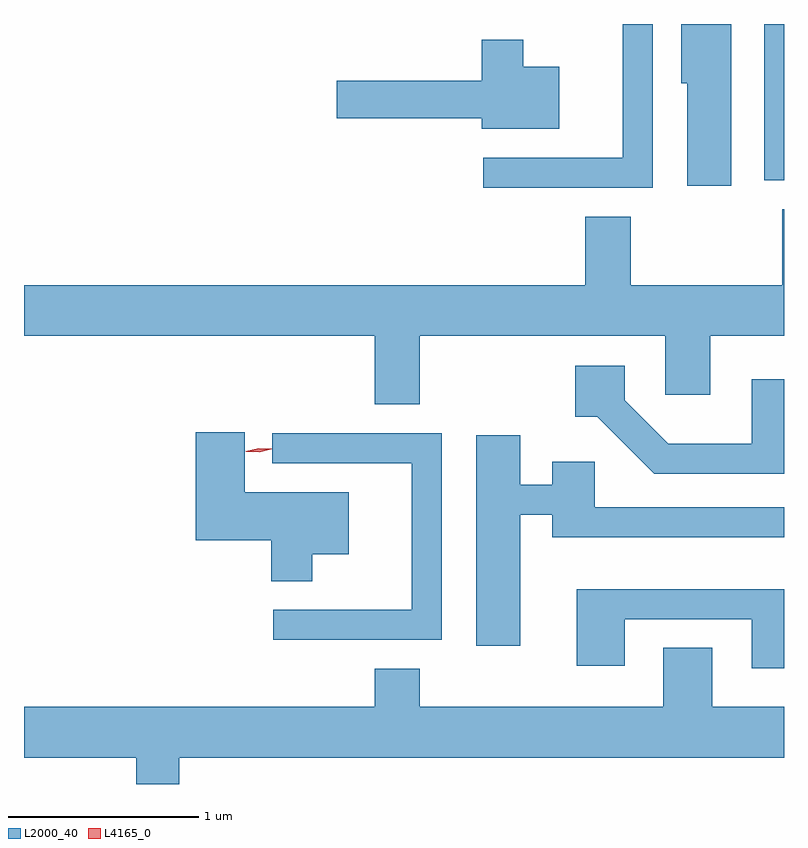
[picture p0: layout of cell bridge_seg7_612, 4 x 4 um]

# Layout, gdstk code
import gdstk
lib = gdstk.Library(unit=1e-6, precision=1e-09)
def R(c, l, rs):  # rectangles x0, y0, x1, y1
    for r in rs: c.add(gdstk.rectangle(r[:2], r[2:], *l))
def P(c, l, *ps):  # polygons
    for p in ps: c.add(gdstk.Polygon(p, *l))
L2000_40 = (2000, 40)
L4165_0 = (4165, 0)

bridge_seg7_612 = lib.new_cell('bridge_seg7_612')
R(bridge_seg7_612, L2000_40, [(759.196,1732.896,759.301,1733.718)])
P(bridge_seg7_612, L2000_40, [(759.024,1733.718),(758.761,1733.718),(758.761,1733.406),(758.791,1733.406),(758.791,1732.866),(759.024,1732.866)],
  [(758.609,1733.718),(758.451,1733.718),(758.451,1733.014),(757.718,1733.014),(757.718,1732.856),(758.609,1732.856)],
  [(758.119,1733.494),(757.929,1733.494),(757.929,1733.634),(757.711,1733.634),(757.711,1733.419),(756.946,1733.419),(756.946,1733.221),(757.711,1733.221),(757.711,1733.166),(758.119,1733.166)],
  [(757.384,1732.076),(758.676,1732.076),(758.676,1731.766),(758.914,1731.766),(758.914,1732.076),(759.301,1732.076),(759.301,1732.744),(759.291,1732.744),(759.291,1732.344),(758.494,1732.344),(758.494,1732.704),(758.256,1732.704),(758.256,1732.344),(755.301,1732.344),(755.301,1732.076),(757.146,1732.076),(757.146,1731.716),(757.384,1731.716)],
  [(759.301,1731.849),(759.131,1731.849),(759.131,1731.509),(758.692,1731.509),(758.464,1731.737),(758.464,1731.919),(758.201,1731.919),(758.201,1731.651),(758.319,1731.651),(758.619,1731.351),(759.301,1731.351)],
  [(756.819,1730.926),(757.009,1730.926),(757.009,1731.254),(756.464,1731.254),(756.464,1731.569),(756.206,1731.569),(756.206,1731.001),(756.601,1731.001),(756.601,1730.786),(756.819,1730.786)],
  [(757.499,1731.564),(756.608,1731.564),(756.608,1731.406),(757.341,1731.406),(757.341,1730.634),(756.613,1730.634),(756.613,1730.476),(757.499,1730.476)],
  [(757.914,1731.136),(758.081,1731.136),(758.081,1731.016),(759.301,1731.016),(759.301,1731.174),(758.304,1731.174),(758.304,1731.414),(758.081,1731.414),(758.081,1731.294),(757.914,1731.294),(757.914,1731.554),(757.681,1731.554),(757.681,1730.446),(757.914,1730.446)],
  [(759.301,1730.744),(758.211,1730.744),(758.211,1730.341),(758.464,1730.341),(758.464,1730.586),(759.131,1730.586),(759.131,1730.326),(759.301,1730.326)],
  [(756.119,1729.856),(759.301,1729.856),(759.301,1730.124),(758.924,1730.124),(758.924,1730.434),(758.666,1730.434),(758.666,1730.124),(757.384,1730.124),(757.384,1730.324),(757.146,1730.324),(757.146,1730.124),(755.301,1730.124),(755.301,1729.856),(755.891,1729.856),(755.891,1729.718),(756.119,1729.718)])
P(bridge_seg7_612, L4165_0, [(756.538,1731.466),(756.468,1731.469),(756.468,1731.469),(756.468,1731.47),(756.536,1731.486),(756.605,1731.483),(756.606,1731.483),(756.605,1731.482)],
  [(756.538,1731.463),(756.471,1731.466),(756.471,1731.467),(756.471,1731.467),(756.536,1731.483),(756.602,1731.48),(756.603,1731.48),(756.602,1731.479)])

lib.write_gds('bridge_seg7_612.gds')
